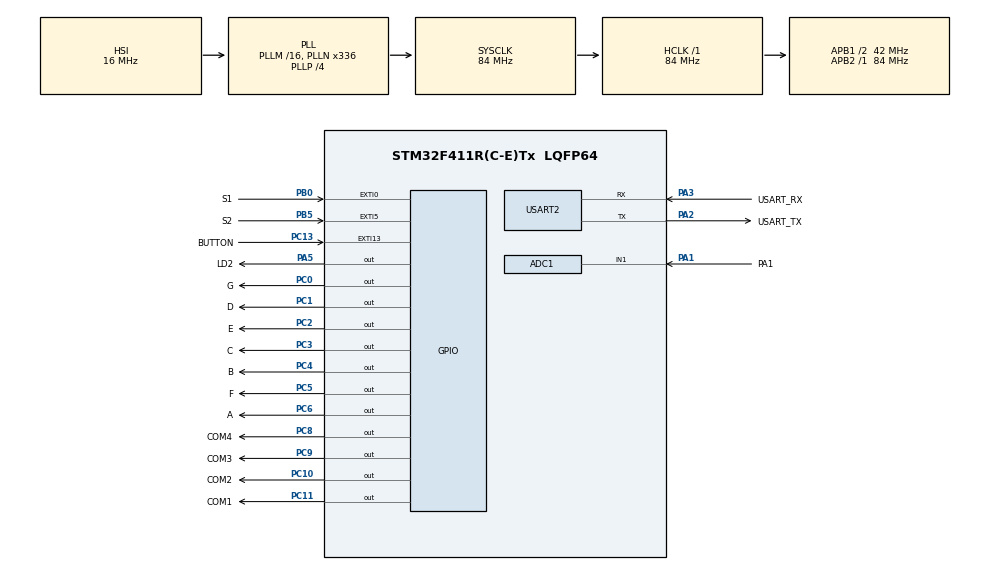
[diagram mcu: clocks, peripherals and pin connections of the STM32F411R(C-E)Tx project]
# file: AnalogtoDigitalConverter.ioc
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ADC1.Channel-1\#ChannelRegularConversion=ADC_CHANNEL_1
ADC1.ContinuousConvMode=ENABLE
ADC1.NbrOfConversionFlag=1
ADC1.Rank-1\#ChannelRegularConversion=1
ADC1.SamplingTime-1\#ChannelRegularConversion=ADC_SAMPLETIME_3CYCLES
ADC1.master=1
Mcu.Family=STM32F4
Mcu.Name=STM32F411R(C-E)Tx
Mcu.Package=LQFP64
NVIC.ADC_IRQn=true\:0\:0\:false\:false\:true\:true\:true\:true
NVIC.EXTI0_IRQn=true\:0\:0\:false\:false\:true\:true\:true\:true
NVIC.EXTI15_10_IRQn=true\:0\:0\:false\:false\:true\:true\:true\:true
NVIC.EXTI9_5_IRQn=true\:0\:0\:false\:false\:true\:true\:true\:true
NVIC.PriorityGroup=NVIC_PRIORITYGROUP_0
NVIC.TIM1_TRG_COM_TIM11_IRQn=true\:0\:0\:false\:false\:true\:true\:true\:true
NVIC.TIM1_UP_TIM10_IRQn=true\:0\:0\:false\:false\:true\:true\:true\:true
NVIC.USART2_IRQn=true\:0\:0\:false\:false\:true\:true\:true\:true
PA1.GPIO_Label=PA1
PA1.Signal=ADCx_IN1
PA13.GPIO_Label=TMS
PA13.Mode=Serial_Wire
PA13.Signal=SYS_JTMS-SWDIO
PA14.GPIO_Label=TCK
PA14.Mode=Serial_Wire
PA14.Signal=SYS_JTCK-SWCLK
PA2.GPIO_Label=USART_TX
PA2.Mode=Asynchronous
PA2.Signal=USART2_TX
PA3.GPIO_Label=USART_RX
PA3.Mode=Asynchronous
PA3.Signal=USART2_RX
PA5.GPIO_Label=LD2
PA5.Signal=GPIO_Output
PB0.GPIO_Label=S1
PB0.GPIO_ModeDefaultEXTI=GPIO_MODE_IT_RISING
PB0.GPIO_PuPd=GPIO_PULLUP
PB0.Signal=GPXTI0
PB3.GPIO_Label=SWO
PB3.Signal=SYS_JTDO-SWO
PB5.GPIO_Label=S2
PB5.GPIO_ModeDefaultEXTI=GPIO_MODE_IT_RISING
PB5.GPIO_PuPd=GPIO_PULLUP
PB5.Signal=GPXTI5
PC0.GPIO_Label=G
PC0.Signal=GPIO_Output
PC1.GPIO_Label=D
PC1.Signal=GPIO_Output
PC10.GPIO_Label=COM2
PC10.Signal=GPIO_Output
PC11.GPIO_Label=COM1
PC11.Signal=GPIO_Output
PC13-ANTI_TAMP.GPIO_Label=BUTTON
PC13-ANTI_TAMP.Signal=GPXTI13
PC14-OSC32_IN.Mode=LSE-External-Oscillator
PC14-OSC32_IN.Signal=RCC_OSC32_IN
PC15-OSC32_OUT.Mode=LSE-External-Oscillator
PC15-OSC32_OUT.Signal=RCC_OSC32_OUT
PC2.GPIO_Label=E
PC2.Signal=GPIO_Output
PC3.GPIO_Label=C
PC3.Signal=GPIO_Output
PC4.GPIO_Label=B
PC4.Signal=GPIO_Output
PC5.GPIO_Label=F
PC5.Signal=GPIO_Output
PC6.GPIO_Label=A
PC6.Signal=GPIO_Output
PC8.GPIO_Label=COM4
PC8.Signal=GPIO_Output
PC9.GPIO_Label=COM3
PC9.Signal=GPIO_Output
PH0\ -\ OSC_IN.Mode=HSE-External-Clock-Source
PH0\ -\ OSC_IN.Signal=RCC_OSC_IN
PH1\ -\ OSC_OUT.Mode=HSE-External-Clock-Source
PH1\ -\ OSC_OUT.Signal=RCC_OSC_OUT
ProjectManager.HeapSize=0x200
ProjectManager.StackSize=0x400
ProjectManager.TargetToolchain=STM32CubeIDE
RCC.48MHZClocksFreq_Value=84000000
RCC.AHBFreq_Value=84000000
RCC.APB1CLKDivider=RCC_HCLK_DIV2
RCC.APB1Freq_Value=42000000
RCC.APB1TimFreq_Value=84000000
RCC.APB2Freq_Value=84000000
RCC.APB2TimFreq_Value=84000000
RCC.CortexFreq_Value=84000000
RCC.FLatency-AdvancedSettings=FLASH_LATENCY_2
RCC.HCLKFreq_Value=84000000
RCC.HSE_VALUE=8000000
RCC.HSI_VALUE=16000000
RCC.PLLN=336
RCC.PLLP=RCC_PLLP_DIV4
RCC.SYSCLKFreq_VALUE=84000000
RCC.SYSCLKSource=RCC_SYSCLKSOURCE_PLLCLK
RCC.VCOOutputFreq_Value=336000000
SH.ADCx_IN1.0=ADC1_IN1,IN1
TIM10.Period=1999
TIM10.Prescaler=41999
TIM11.AutoReloadPreload=TIM_AUTORELOAD_PRELOAD_DISABLE
TIM11.Period=9
TIM11.Prescaler=41999
USART2.VirtualMode=VM_ASYNC
VP_TIM10_VS_ClockSourceINT.Mode=Enable_Timer
VP_TIM11_VS_ClockSourceINT.Mode=Enable_Timer
board=NUCLEO-F411RE

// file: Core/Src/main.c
/* USER CODE BEGIN Header */
/**
  ******************************************************************************
  * @file           : main.c
  * @brief          : Main program body
  ******************************************************************************
  * @attention
  *
  * Copyright (c) 2022 STMicroelectronics.
  * All rights reserved.
  *
  * This software is licensed under terms that can be found in the LICENSE file
  * in the root directory of this software component.
  * If no LICENSE file comes with this software, it is provided AS-IS.
  *
  ******************************************************************************
  */
/* USER CODE END Header */
#include "main.h"

/* USER CODE BEGIN Includes */
#include <stdio.h>
#include <stdbool.h>
#include <string.h>
/* USER CODE END Includes */

ADC_HandleTypeDef hadc1;
TIM_HandleTypeDef htim10;
TIM_HandleTypeDef htim11;
UART_HandleTypeDef huart2;

/* USER CODE BEGIN PV */

volatile uint16_t number = 0; //numer początkowy
 int COM = 1;	//interfejs wyswietlacza
_Bool state = true;
uint16_t comunication[20];
uint8_t znak;

/* USER CODE END PV */

void SystemClock_Config(void);
static void MX_GPIO_Init(void);
static void MX_USART2_UART_Init(void);
static void MX_TIM11_Init(void);
static void MX_ADC1_Init(void);
static void MX_TIM10_Init(void);
/* USER CODE BEGIN PFP */

void led_Init(){
	  HAL_GPIO_WritePin(LD2_GPIO_Port, LD2_Pin, GPIO_PIN_SET);
	  HAL_Delay(800);
	  HAL_GPIO_WritePin(LD2_GPIO_Port, LD2_Pin, GPIO_PIN_RESET);

	  HAL_GPIO_WritePin(COM1_GPIO_Port, COM1_Pin, GPIO_PIN_RESET);
	  HAL_GPIO_WritePin(COM2_GPIO_Port, COM2_Pin, GPIO_PIN_RESET);
	  HAL_GPIO_WritePin(COM3_GPIO_Port, COM3_Pin, GPIO_PIN_RESET);
	  HAL_GPIO_WritePin(COM4_GPIO_Port, COM4_Pin, GPIO_PIN_RESET);
	  HAL_GPIO_WritePin(A_GPIO_Port, A_Pin, GPIO_PIN_SET);
	  HAL_GPIO_WritePin(B_GPIO_Port, B_Pin, GPIO_PIN_SET);
	  HAL_GPIO_WritePin(C_GPIO_Port, C_Pin, GPIO_PIN_SET);
	  HAL_GPIO_WritePin(D_GPIO_Port, D_Pin, GPIO_PIN_SET);
	  HAL_GPIO_WritePin(E_GPIO_Port, E_Pin, GPIO_PIN_SET);
	  HAL_GPIO_WritePin(F_GPIO_Port, F_Pin, GPIO_PIN_SET);
	  HAL_GPIO_WritePin(G_GPIO_Port, G_Pin, GPIO_PIN_SET);

	  HAL_Delay(800);

	  HAL_GPIO_WritePin(A_GPIO_Port, A_Pin, GPIO_PIN_RESET);
	  HAL_GPIO_WritePin(B_GPIO_Port, B_Pin, GPIO_PIN_RESET);
	  HAL_GPIO_WritePin(C_GPIO_Port, C_Pin, GPIO_PIN_RESET);
	  HAL_GPIO_WritePin(D_GPIO_Port, D_Pin, GPIO_PIN_RESET);
	  HAL_GPIO_WritePin(E_GPIO_Port, E_Pin, GPIO_PIN_RESET);
	  HAL_GPIO_WritePin(F_GPIO_Port, F_Pin, GPIO_PIN_RESET);
	  HAL_GPIO_WritePin(G_GPIO_Port, G_Pin, GPIO_PIN_RESET);
}

void madeNumber(uint8_t number, uint8_t COM){
	switch(number){

	case 1:
		  HAL_GPIO_WritePin(A_GPIO_Port, A_Pin, GPIO_PIN_RESET);
		  HAL_GPIO_WritePin(B_GPIO_Port, B_Pin, GPIO_PIN_RESET);
		  HAL_GPIO_WritePin(C_GPIO_Port, C_Pin, GPIO_PIN_RESET);
		  HAL_GPIO_WritePin(D_GPIO_Port, D_Pin, GPIO_PIN_RESET);
		  HAL_GPIO_WritePin(E_GPIO_Port, E_Pin, GPIO_PIN_SET);
		  HAL_GPIO_WritePin(F_GPIO_Port, F_Pin, GPIO_PIN_SET);
		  HAL_GPIO_WritePin(G_GPIO_Port, G_Pin, GPIO_PIN_RESET);

		break;
	case 2:
		  HAL_GPIO_WritePin(A_GPIO_Port, A_Pin, GPIO_PIN_SET);
		  HAL_GPIO_WritePin(B_GPIO_Port, B_Pin, GPIO_PIN_SET);
		  HAL_GPIO_WritePin(C_GPIO_Port, C_Pin, GPIO_PIN_RESET);
		  HAL_GPIO_WritePin(D_GPIO_Port, D_Pin, GPIO_PIN_SET);
		  HAL_GPIO_WritePin(E_GPIO_Port, E_Pin, GPIO_PIN_SET);
		  HAL_GPIO_WritePin(F_GPIO_Port, F_Pin, GPIO_PIN_RESET);
		  HAL_GPIO_WritePin(G_GPIO_Port, G_Pin, GPIO_PIN_SET);

		break;
	case 3:
		  HAL_GPIO_WritePin(A_GPIO_Port, A_Pin, GPIO_PIN_SET);
		  HAL_GPIO_WritePin(B_GPIO_Port, B_Pin, GPIO_PIN_SET);
		  HAL_GPIO_WritePin(C_GPIO_Port, C_Pin, GPIO_PIN_SET);
		  HAL_GPIO_WritePin(D_GPIO_Port, D_Pin, GPIO_PIN_SET);
		  HAL_GPIO_WritePin(E_GPIO_Port, E_Pin, GPIO_PIN_RESET);
		  HAL_GPIO_WritePin(F_GPIO_Port, F_Pin, GPIO_PIN_RESET);
		  HAL_GPIO_WritePin(G_GPIO_Port, G_Pin, GPIO_PIN_SET);

		break;
	case 4:
		  HAL_GPIO_WritePin(A_GPIO_Port, A_Pin, GPIO_PIN_RESET);
		  HAL_GPIO_WritePin(B_GPIO_Port, B_Pin, GPIO_PIN_SET);
		  HAL_GPIO_WritePin(C_GPIO_Port, C_Pin, GPIO_PIN_SET);
		  HAL_GPIO_WritePin(D_GPIO_Port, D_Pin, GPIO_PIN_RESET);
		  HAL_GPIO_WritePin(E_GPIO_Port, E_Pin, GPIO_PIN_RESET);
		  HAL_GPIO_WritePin(F_GPIO_Port, F_Pin, GPIO_PIN_SET);
		  HAL_GPIO_WritePin(G_GPIO_Port, G_Pin, GPIO_PIN_SET);

		break;
	case 5:
		  HAL_GPIO_WritePin(A_GPIO_Port, A_Pin, GPIO_PIN_SET);
		  HAL_GPIO_WritePin(B_GPIO_Port, B_Pin, GPIO_PIN_RESET);
		  HAL_GPIO_WritePin(C_GPIO_Port, C_Pin, GPIO_PIN_SET);
		  HAL_GPIO_WritePin(D_GPIO_Port, D_Pin, GPIO_PIN_SET);
		  HAL_GPIO_WritePin(E_GPIO_Port, E_Pin, GPIO_PIN_RESET);
		  HAL_GPIO_WritePin(F_GPIO_Port, F_Pin, GPIO_PIN_SET);
		  HAL_GPIO_WritePin(G_GPIO_Port, G_Pin, GPIO_PIN_SET);

		break;
	case 6:
		  HAL_GPIO_WritePin(A_GPIO_Port, A_Pin, GPIO_PIN_SET);
		  HAL_GPIO_WritePin(B_GPIO_Port, B_Pin, GPIO_PIN_RESET);
		  HAL_GPIO_WritePin(C_GPIO_Port, C_Pin, GPIO_PIN_SET);
		  HAL_GPIO_WritePin(D_GPIO_Port, D_Pin, GPIO_PIN_SET);
		  HAL_GPIO_WritePin(E_GPIO_Port, E_Pin, GPIO_PIN_SET);
		  HAL_GPIO_WritePin(F_GPIO_Port, F_Pin, GPIO_PIN_SET);
		  HAL_GPIO_WritePin(G_GPIO_Port, G_Pin, GPIO_PIN_SET);

		break;
	case 7:
		  HAL_GPIO_WritePin(A_GPIO_Port, A_Pin, GPIO_PIN_SET);
		  HAL_GPIO_WritePin(B_GPIO_Port, B_Pin, GPIO_PIN_SET);
		  HAL_GPIO_WritePin(C_GPIO_Port, C_Pin, GPIO_PIN_SET);
		  HAL_GPIO_WritePin(D_GPIO_Port, D_Pin, GPIO_PIN_RESET);
		  HAL_GPIO_WritePin(E_GPIO_Port, E_Pin, GPIO_PIN_RESET);
		  HAL_GPIO_WritePin(F_GPIO_Port, F_Pin, GPIO_PIN_RESET);
		  HAL_GPIO_WritePin(G_GPIO_Port, G_Pin, GPIO_PIN_RESET);
		break;
	case 8:
		  HAL_GPIO_WritePin(A_GPIO_Port, A_Pin, GPIO_PIN_SET);
		  HAL_GPIO_WritePin(B_GPIO_Port, B_Pin, GPIO_PIN_SET);
		  HAL_GPIO_WritePin(C_GPIO_Port, C_Pin, GPIO_PIN_SET);
		  HAL_GPIO_WritePin(D_GPIO_Port, D_Pin, GPIO_PIN_SET);
		  HAL_GPIO_WritePin(E_GPIO_Port, E_Pin, GPIO_PIN_SET);
		  HAL_GPIO_WritePin(F_GPIO_Port, F_Pin, GPIO_PIN_SET);
		  HAL_GPIO_WritePin(G_GPIO_Port, G_Pin, GPIO_PIN_SET);

		break;
	case 9:
		  HAL_GPIO_WritePin(A_GPIO_Port, A_Pin, GPIO_PIN_SET);
		  HAL_GPIO_WritePin(B_GPIO_Port, B_Pin, GPIO_PIN_SET);
		  HAL_GPIO_WritePin(C_GPIO_Port, C_Pin, GPIO_PIN_SET);
		  HAL_GPIO_WritePin(D_GPIO_Port, D_Pin, GPIO_PIN_SET);
		  HAL_GPIO_WritePin(E_GPIO_Port, E_Pin, GPIO_PIN_RESET);
		  HAL_GPIO_WritePin(F_GPIO_Port, F_Pin, GPIO_PIN_SET);
		  HAL_GPIO_WritePin(G_GPIO_Port, G_Pin, GPIO_PIN_SET);

		break;
	case 0:
		  HAL_GPIO_WritePin(A_GPIO_Port, A_Pin, GPIO_PIN_SET);
		  HAL_GPIO_WritePin(B_GPIO_Port, B_Pin, GPIO_PIN_SET);
		  HAL_GPIO_WritePin(C_GPIO_Port, C_Pin, GPIO_PIN_SET);
		  HAL_GPIO_WritePin(D_GPIO_Port, D_Pin, GPIO_PIN_SET);
		  HAL_GPIO_WritePin(E_GPIO_Port, E_Pin, GPIO_PIN_SET);
		  HAL_GPIO_WritePin(F_GPIO_Port, F_Pin, GPIO_PIN_SET);
		  HAL_GPIO_WritePin(G_GPIO_Port, G_Pin, GPIO_PIN_RESET);
		break;
	}

	switch(COM){
		case 1:
			HAL_GPIO_WritePin(COM1_GPIO_Port, COM1_Pin, GPIO_PIN_RESET);
			HAL_GPIO_WritePin(COM2_GPIO_Port, COM2_Pin, GPIO_PIN_SET);
			HAL_GPIO_WritePin(COM3_GPIO_Port, COM3_Pin, GPIO_PIN_SET);
			HAL_GPIO_WritePin(COM4_GPIO_Port, COM4_Pin, GPIO_PIN_SET);
			break;
		case 2:
			HAL_GPIO_WritePin(COM1_GPIO_Port, COM1_Pin, GPIO_PIN_SET);
			HAL_GPIO_WritePin(COM2_GPIO_Port, COM2_Pin, GPIO_PIN_RESET);
			HAL_GPIO_WritePin(COM3_GPIO_Port, COM3_Pin, GPIO_PIN_SET);
			HAL_GPIO_WritePin(COM4_GPIO_Port, COM4_Pin, GPIO_PIN_SET);
			break;
		case 3:
			HAL_GPIO_WritePin(COM1_GPIO_Port, COM1_Pin, GPIO_PIN_SET);
			HAL_GPIO_WritePin(COM2_GPIO_Port, COM2_Pin, GPIO_PIN_SET);
			HAL_GPIO_WritePin(COM3_GPIO_Port, COM3_Pin, GPIO_PIN_RESET);
			HAL_GPIO_WritePin(COM4_GPIO_Port, COM4_Pin, GPIO_PIN_SET);
			break;
		case 4:
			HAL_GPIO_WritePin(COM1_GPIO_Port, COM1_Pin, GPIO_PIN_SET);
			HAL_GPIO_WritePin(COM2_GPIO_Port, COM2_Pin, GPIO_PIN_SET);
			HAL_GPIO_WritePin(COM3_GPIO_Port, COM3_Pin, GPIO_PIN_SET);
			HAL_GPIO_WritePin(COM4_GPIO_Port, COM4_Pin, GPIO_PIN_RESET);
			break;

		}
}

void HAL_TIM_PeriodElapsedCallback(TIM_HandleTypeDef *htim){

	if(htim -> Instance == TIM11){

		//Refresh 5ms ~ 200Hz
		if(COM==1)madeNumber((int)number%10, 1);
		if(COM==2)madeNumber(((int)number/10)%10, 2);
		//if(COM==3)madeNumber(((int)number/100)%10, 2);
		//if(COM==4)madeNumber(((int)number/1000)%10, 1);
		COM++;
		if(COM>4)COM=1;

	}

	if(htim -> Instance == TIM10){
		//Refresh CO 1000ms ~ 1Hz

		HAL_GPIO_TogglePin(LD2_GPIO_Port, LD2_Pin);
		HAL_ADC_Start_IT(&hadc1);

	}
}

void HAL_ADC_ConvCpltCallback(ADC_HandleTypeDef* hadc){
	//interrupt after ADC loading...
	uint16_t output = HAL_ADC_GetValue(&hadc1);
	//znak = snprintf(comunication, sizeof(comunication),"%d ",output);
	number = (int)(100* (int)output)/3500; //Percentage output for double number 7-seg display
		if (number >= 100){
			number = 99;
		}

}
/*
void HAL_UART_TxCpltCallback(UART_HandleTypeDef *huart){

	HAL_UART_Transmit_IT(&huart2,comunication , znak);

}
*/
/* USER CODE END PFP */

int main(void)
{

  /* MCU Configuration--------------------------------------------------------*/

  /* Reset of all peripherals, Initializes the Flash interface and the Systick. */
  HAL_Init();

  /* Configure the system clock */
  SystemClock_Config();

  /* Initialize all configured peripherals */
  MX_GPIO_Init();
  MX_USART2_UART_Init();
  MX_TIM11_Init();
  MX_ADC1_Init();
  MX_TIM10_Init();
  /* USER CODE BEGIN 2 */
  //led_Init();
  HAL_TIM_Base_Start_IT(&htim11);
  HAL_TIM_Base_Start_IT(&htim10);

  //znak = snprintf(comunication, sizeof(comunication),"%d ",number);
  //HAL_UART_Transmit_IT(&huart2, comunication, znak);

  /* USER CODE END 2 */

  /* Infinite loop */
  while (1)
  {

  }
}

void SystemClock_Config(void)
{
  RCC_OscInitTypeDef RCC_OscInitStruct = {0};
  RCC_ClkInitTypeDef RCC_ClkInitStruct = {0};

  /** Configure the main internal regulator output voltage
  */
  __HAL_RCC_PWR_CLK_ENABLE();
  __HAL_PWR_VOLTAGESCALING_CONFIG(PWR_REGULATOR_VOLTAGE_SCALE1);

  /** Initializes the RCC Oscillators according to the specified parameters
  * in the RCC_OscInitTypeDef structure.
  */
  RCC_OscInitStruct.OscillatorType = RCC_OSCILLATORTYPE_HSI;
  RCC_OscInitStruct.HSIState = RCC_HSI_ON;
  RCC_OscInitStruct.HSICalibrationValue = RCC_HSICALIBRATION_DEFAULT;
  RCC_OscInitStruct.PLL.PLLState = RCC_PLL_ON;
  RCC_OscInitStruct.PLL.PLLSource = RCC_PLLSOURCE_HSI;
  RCC_OscInitStruct.PLL.PLLM = 16;
  RCC_OscInitStruct.PLL.PLLN = 336;
  RCC_OscInitStruct.PLL.PLLP = RCC_PLLP_DIV4;
  RCC_OscInitStruct.PLL.PLLQ = 4;
  if (HAL_RCC_OscConfig(&RCC_OscInitStruct) != HAL_OK)
  {
    Error_Handler();
  }

  /** Initializes the CPU, AHB and APB buses clocks
  */
  RCC_ClkInitStruct.ClockType = RCC_CLOCKTYPE_HCLK|RCC_CLOCKTYPE_SYSCLK
                              |RCC_CLOCKTYPE_PCLK1|RCC_CLOCKTYPE_PCLK2;
  RCC_ClkInitStruct.SYSCLKSource = RCC_SYSCLKSOURCE_PLLCLK;
  RCC_ClkInitStruct.AHBCLKDivider = RCC_SYSCLK_DIV1;
  RCC_ClkInitStruct.APB1CLKDivider = RCC_HCLK_DIV2;
  RCC_ClkInitStruct.APB2CLKDivider = RCC_HCLK_DIV1;

  if (HAL_RCC_ClockConfig(&RCC_ClkInitStruct, FLASH_LATENCY_2) != HAL_OK)
  {
    Error_Handler();
  }
}

static void MX_ADC1_Init(void)
{

  ADC_ChannelConfTypeDef sConfig = {0};

  /** Configure the global features of the ADC (Clock, Resolution, Data Alignment and number of conversion)
  */
  hadc1.Instance = ADC1;
  hadc1.Init.ClockPrescaler = ADC_CLOCK_SYNC_PCLK_DIV4;
  hadc1.Init.Resolution = ADC_RESOLUTION_12B;
  hadc1.Init.ScanConvMode = DISABLE;
  hadc1.Init.ContinuousConvMode = ENABLE;
  hadc1.Init.DiscontinuousConvMode = DISABLE;
  hadc1.Init.ExternalTrigConvEdge = ADC_EXTERNALTRIGCONVEDGE_NONE;
  hadc1.Init.ExternalTrigConv = ADC_SOFTWARE_START;
  hadc1.Init.DataAlign = ADC_DATAALIGN_RIGHT;
  hadc1.Init.NbrOfConversion = 1;
  hadc1.Init.DMAContinuousRequests = DISABLE;
  hadc1.Init.EOCSelection = ADC_EOC_SINGLE_CONV;
  if (HAL_ADC_Init(&hadc1) != HAL_OK)
  {
    Error_Handler();
  }

  /** Configure for the selected ADC regular channel its corresponding rank in the sequencer and its sample time.
  */
  sConfig.Channel = ADC_CHANNEL_1;
  sConfig.Rank = 1;
  sConfig.SamplingTime = ADC_SAMPLETIME_3CYCLES;
  if (HAL_ADC_ConfigChannel(&hadc1, &sConfig) != HAL_OK)
  {
    Error_Handler();
  }

}

static void MX_TIM10_Init(void)
{

  htim10.Instance = TIM10;
  htim10.Init.Prescaler = 41999;
  htim10.Init.CounterMode = TIM_COUNTERMODE_UP;
  htim10.Init.Period = 1999;
  htim10.Init.ClockDivision = TIM_CLOCKDIVISION_DIV1;
  htim10.Init.AutoReloadPreload = TIM_AUTORELOAD_PRELOAD_DISABLE;
  if (HAL_TIM_Base_Init(&htim10) != HAL_OK)
  {
    Error_Handler();
  }

}

static void MX_TIM11_Init(void)
{

  htim11.Instance = TIM11;
  htim11.Init.Prescaler = 41999;
  htim11.Init.CounterMode = TIM_COUNTERMODE_UP;
  htim11.Init.Period = 9;
  htim11.Init.ClockDivision = TIM_CLOCKDIVISION_DIV1;
  htim11.Init.AutoReloadPreload = TIM_AUTORELOAD_PRELOAD_DISABLE;
  if (HAL_TIM_Base_Init(&htim11) != HAL_OK)
  {
    Error_Handler();
  }

}

static void MX_USART2_UART_Init(void)
{

  huart2.Instance = USART2;
  huart2.Init.BaudRate = 115200;
  huart2.Init.WordLength = UART_WORDLENGTH_8B;
  huart2.Init.StopBits = UART_STOPBITS_1;
  huart2.Init.Parity = UART_PARITY_NONE;
  huart2.Init.Mode = UART_MODE_TX_RX;
  huart2.Init.HwFlowCtl = UART_HWCONTROL_NONE;
  huart2.Init.OverSampling = UART_OVERSAMPLING_16;
  if (HAL_UART_Init(&huart2) != HAL_OK)
  {
    Error_Handler();
  }

}

static void MX_GPIO_Init(void)
{
  GPIO_InitTypeDef GPIO_InitStruct = {0};

  /* GPIO Ports Clock Enable */
  __HAL_RCC_GPIOC_CLK_ENABLE();
  __HAL_RCC_GPIOH_CLK_ENABLE();
  __HAL_RCC_GPIOA_CLK_ENABLE();
  __HAL_RCC_GPIOB_CLK_ENABLE();

  /*Configure GPIO pin Output Level */
  HAL_GPIO_WritePin(GPIOC, G_Pin|D_Pin|E_Pin|C_Pin
                          |B_Pin|F_Pin|A_Pin|COM4_Pin
                          |COM3_Pin|COM2_Pin|COM1_Pin, GPIO_PIN_RESET);

  /*Configure GPIO pin Output Level */
  HAL_GPIO_WritePin(LD2_GPIO_Port, LD2_Pin, GPIO_PIN_RESET);

  /*Configure GPIO pin : BUTTON_Pin */
  GPIO_InitStruct.Pin = BUTTON_Pin;
  GPIO_InitStruct.Mode = GPIO_MODE_IT_RISING;
  GPIO_InitStruct.Pull = GPIO_NOPULL;
  HAL_GPIO_Init(BUTTON_GPIO_Port, &GPIO_InitStruct);

  /*Configure GPIO pins : G_Pin D_Pin E_Pin C_Pin
                           B_Pin F_Pin A_Pin COM4_Pin
                           COM3_Pin COM2_Pin COM1_Pin */
  GPIO_InitStruct.Pin = G_Pin|D_Pin|E_Pin|C_Pin
                          |B_Pin|F_Pin|A_Pin|COM4_Pin
                          |COM3_Pin|COM2_Pin|COM1_Pin;
  GPIO_InitStruct.Mode = GPIO_MODE_OUTPUT_PP;
  GPIO_InitStruct.Pull = GPIO_NOPULL;
  GPIO_InitStruct.Speed = GPIO_SPEED_FREQ_LOW;
  HAL_GPIO_Init(GPIOC, &GPIO_InitStruct);

  /*Configure GPIO pin : LD2_Pin */
  GPIO_InitStruct.Pin = LD2_Pin;
  GPIO_InitStruct.Mode = GPIO_MODE_OUTPUT_PP;
  GPIO_InitStruct.Pull = GPIO_NOPULL;
  GPIO_InitStruct.Speed = GPIO_SPEED_FREQ_LOW;
  HAL_GPIO_Init(LD2_GPIO_Port, &GPIO_InitStruct);

  /*Configure GPIO pins : S1_Pin S2_Pin */
  GPIO_InitStruct.Pin = S1_Pin|S2_Pin;
  GPIO_InitStruct.Mode = GPIO_MODE_IT_RISING;
  GPIO_InitStruct.Pull = GPIO_PULLUP;
  HAL_GPIO_Init(GPIOB, &GPIO_InitStruct);

  /* EXTI interrupt init*/
  HAL_NVIC_SetPriority(EXTI0_IRQn, 0, 0);
  HAL_NVIC_EnableIRQ(EXTI0_IRQn);

  HAL_NVIC_SetPriority(EXTI9_5_IRQn, 0, 0);
  HAL_NVIC_EnableIRQ(EXTI9_5_IRQn);

  HAL_NVIC_SetPriority(EXTI15_10_IRQn, 0, 0);
  HAL_NVIC_EnableIRQ(EXTI15_10_IRQn);

}

void Error_Handler(void)
{
  __disable_irq();
  while (1)
  {
  }
}
